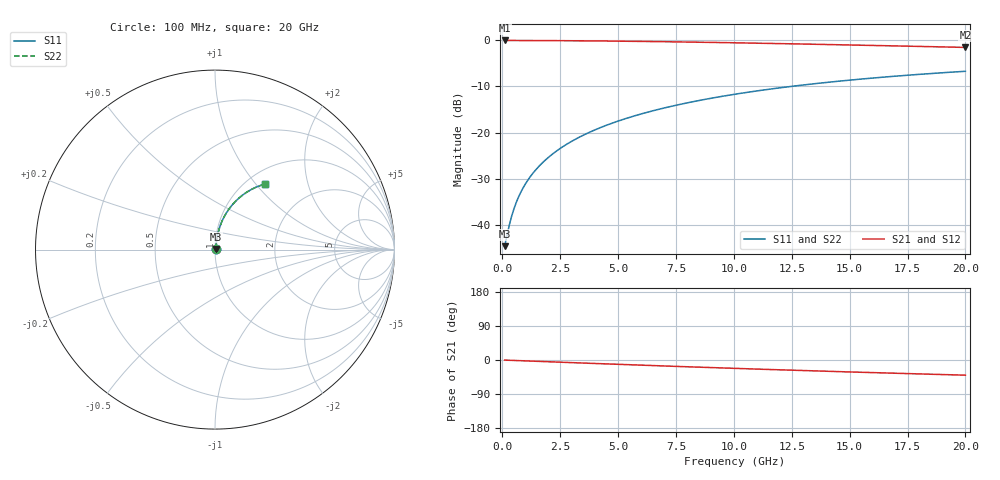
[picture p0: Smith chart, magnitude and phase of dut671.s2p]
! Touchstone file exported from HFSS 2024.1.0
!  File:  C:/UserFiles/LocalFiles/RDL_TSV_Batchsim/temp_RDL_bottom_671_1779786173.aedt
!  Generated:  05:05:25 PM May 26, 2026
!  Design:  RDL_bottom
!  Project:  temp_RDL_bottom_671_1779786173
!  Setup:  Setup1
!  Solution:  Sweep
! Variables:
!  dtsv = 10.80580581um
!  hbump = 3um
!  htsv = 88.84um
!  ldown = 496.08um
!  lrdl = 100um
!  p = 40
!  p1 = 48.21um
!  rhole = 1um
!  t = 450um
!  tdown = 2.86um
!  trdl = 3.915915916um
!  wdown = 12.08um
!  wrdl = 20um
# GHz S MA R 50.000000
! Terminal data exported
! Port[1] = RDL1_T1
! Port[2] = RDL1_T2
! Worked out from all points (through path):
!   200 points, 100 MHz to 20 GHz, reference 50 ohm
!   highest |S21| = -0.05 dB at 100 MHz (marker M1); lowest = -1.6 dB at 20 GHz (marker M2)
!   group delay of S21, straight-line fit = 5.56 ps
!   lowest |S11| = -44.6 dB at 100 MHz (marker M3), VSWR 1.01, Z = 50.5 + j0.281 ohm
!   |S11| at or under -10 dB: start of sweep to 12.48 GHz
!   |S22| runs from -44.6 to -6.7 dB; largest |S21 - S12| = 2e-15
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0.1  0.005878 28.2  0.9948 -0.2  0.9948 -0.2  0.005878 28.2
! Gamma 0 0 0 0
! Port Impedance 50 0 50 0
0.3  0.009878 57.1  0.9947 -0.7  0.9947 -0.7  0.009878 57.1
0.4  0.01232 63.5  0.9945 -1.0  0.9945 -1.0  0.01232 63.5
0.5  0.01485 67.6  0.9944 -1.2  0.9944 -1.2  0.01485 67.6
0.6  0.01741 70.4  0.9942 -1.4  0.9942 -1.4  0.01741 70.4
0.7  0.02 72.4  0.9941 -1.7  0.9941 -1.7  0.02 72.4
0.9  0.0252 75.2  0.9937 -2.1  0.9937 -2.1  0.0252 75.2
1.2  0.03304 77.5  0.9932 -2.8  0.9932 -2.8  0.03304 77.5
1.4  0.03829 78.5  0.9928 -3.3  0.9928 -3.3  0.03829 78.5
1.7  0.04618 79.4  0.9921 -4.0  0.9921 -4.0  0.04618 79.4
2.2  0.05936 80.0  0.9908 -5.1  0.9908 -5.1  0.05936 80.0
2.8  0.07522 80.1  0.9888 -6.5  0.9888 -6.5  0.07521 80.1
3.5  0.09371 79.7  0.986 -8.1  0.986 -8.1  0.09371 79.7
4.2  0.1122 78.9  0.9826 -9.7  0.9826 -9.7  0.1122 78.9
5  0.1331 77.9  0.9781 -11.4  0.9781 -11.4  0.1331 77.9
5.9  0.1566 76.5  0.9724 -13.4  0.9724 -13.4  0.1566 76.5
6.8  0.1797 75.1  0.966 -15.4  0.966 -15.4  0.1797 75.1
8.3  0.2176 72.5  0.9541 -18.5  0.9541 -18.5  0.2176 72.5
10.1  0.2615 69.3  0.9382 -22.2  0.9382 -22.2  0.2615 69.3
13.4  0.3364 63.5  0.9058 -28.6  0.9058 -28.6  0.3364 63.5
16.7  0.4031 57.8  0.8713 -34.5  0.8713 -34.5  0.403 57.8
20  0.4612 52.5  0.8363 -40.0  0.8363 -40.0  0.4611 52.5
